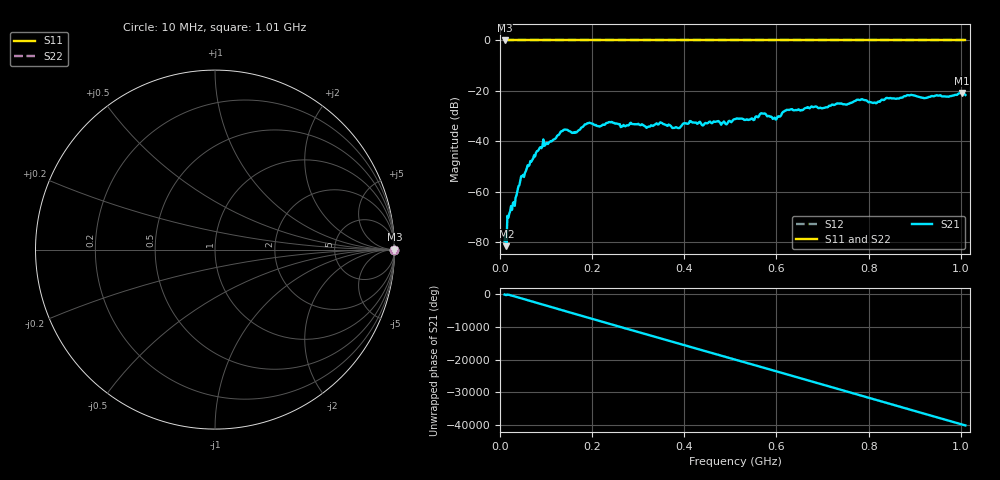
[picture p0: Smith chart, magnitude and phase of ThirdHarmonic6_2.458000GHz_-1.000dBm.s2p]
! 8/17/2025 4:26:24 AM
! C:\ANRITSUVNA\TEMP\TEMP.S2P
! CHANNEL.1
! TR.MEASUREMENT
! RAW.DATA
! RF.CORRECTION.OFF
! AVERAGING.OFF
! IF.BANDWIDTH: 5KHZ
! SWEEPTYPE:  FREQ.SWEEP(Linear)
! Reference Plane Port Info
! PORT:  PORT1  PORT2
! DISTANCE:  0  m  0  m
! TIME:  0  s  0  s
! PHASE.OFFSET:  0  deg.  0  deg.
! LOSS:  0  dB  0  dB
! REF.LOSS:  0  dB  0  dB
! REF.FREQ:  0  Hz  0  Hz
! Power Info
! POWER:  -20  dBm  -20  dBm
! EFF.POWER:  -20  dBm  -20  dBm
! SOURCE.ATTEN:  0  dB  0  dB
! TEST.ATTEN:  0  dB  0  dB
# GHZ S RI R 50.0
! FREQ.GHZ  S11RE  S11IM  S21RE  S21IM  S12RE  S12IM  S22RE  S22IM
!; PortSelection: Port_12
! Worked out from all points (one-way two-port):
!   501 points, 10 MHz to 1.01 GHz, reference 50 ohm
!   highest |S21| = -20.85 dB at 1.002 GHz (marker M1); lowest = -81.6 dB at 14 MHz (marker M2)
!   lowest |S11| = 0.0 dB at 10 MHz (marker M3)
!   |S11| at or under -10 dB: nowhere
!   |S22| runs from 0.0 to 0.0 dB; largest |S21 - S12| = 1.1
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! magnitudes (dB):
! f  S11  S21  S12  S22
! 10 MHz  0.0  -79.7  0.0  0.0
! 14 MHz  0.0  -81.6  0.0  0.0
! 20 MHz  0.0  -68.9  0.0  0.0
! 30 MHz  0.0  -64.1  0.0  0.0
! 44 MHz  0.0  -55.7  0.0  0.0
! 82 MHz  0.0  -43.8  0.0  0.0
! 136 MHz  0.0  -35.9  0.0  0.0
! 162 MHz  0.0  -36.7  0.0  0.0
! 178 MHz  0.0  -34.4  0.0  0.0
! 194 MHz  0.0  -32.7  0.0  0.0
! 344 MHz  0.0  -33.3  0.0  0.0
! 386 MHz  0.0  -34.7  0.0  0.0
! 414 MHz  0.0  -32.0  0.0  0.0
! 510 MHz  0.0  -31.2  0.0  0.0
! 548 MHz  0.0  -31.1  0.0  0.0
! 570 MHz  0.0  -29.0  0.0  0.0
! 596 MHz  0.0  -30.6  0.0  0.0
! 622 MHz  0.0  -27.5  0.0  0.0
! 678 MHz  0.0  -26.4  0.0  0.0
! 844 MHz  0.0  -22.9  0.0  0.0
! 1.002 GHz  0.0  -20.8  0.0  0.0
! 1.01 GHz  0.0  -21.6  0.0  0.0
